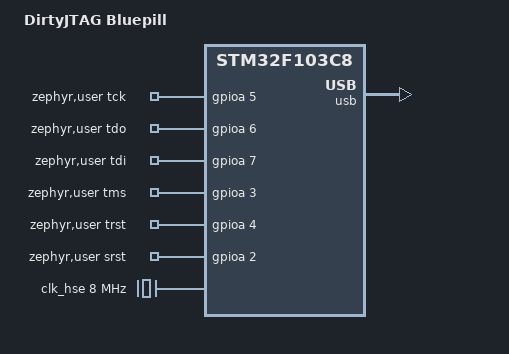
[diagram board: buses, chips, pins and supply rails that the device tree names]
/*
 * DirtyJTAG Bluepill board definition.
 *
 * SPDX-License-Identifier: Apache-2.0
 */

/dts-v1/;
#include <st/f1/stm32f103X8.dtsi>
#include <zephyr/dt-bindings/gpio/gpio.h>

/ {
	model = "DirtyJTAG Bluepill";
	compatible = "dirtyjtag,bluepill", "st,stm32f103c8";

	chosen {
		zephyr,sram = &sram0;
		zephyr,flash = &flash0;
	};

	zephyr,user {
		tck-gpios = <&gpioa 5 GPIO_ACTIVE_HIGH>;
		tdo-gpios = <&gpioa 6 GPIO_ACTIVE_HIGH>;
		tdi-gpios = <&gpioa 7 GPIO_ACTIVE_HIGH>;
		tms-gpios = <&gpioa 3 GPIO_ACTIVE_HIGH>;
		trst-gpios = <&gpioa 4 GPIO_ACTIVE_HIGH>;
		srst-gpios = <&gpioa 2 GPIO_ACTIVE_HIGH>;
	};
};

&clk_hse {
	clock-frequency = <DT_FREQ_M(8)>;
	status = "okay";
};

&pll {
	mul = <9>;
	clocks = <&clk_hse>;
	status = "okay";
};

&rcc {
	clocks = <&pll>;
	clock-frequency = <DT_FREQ_M(72)>;
	ahb-prescaler = <1>;
	apb1-prescaler = <2>;
	apb2-prescaler = <1>;
};

&gpioa {
	status = "okay";
};

&gpiob {
	status = "okay";
};

zephyr_udc0: &usb {
	status = "okay";
};
